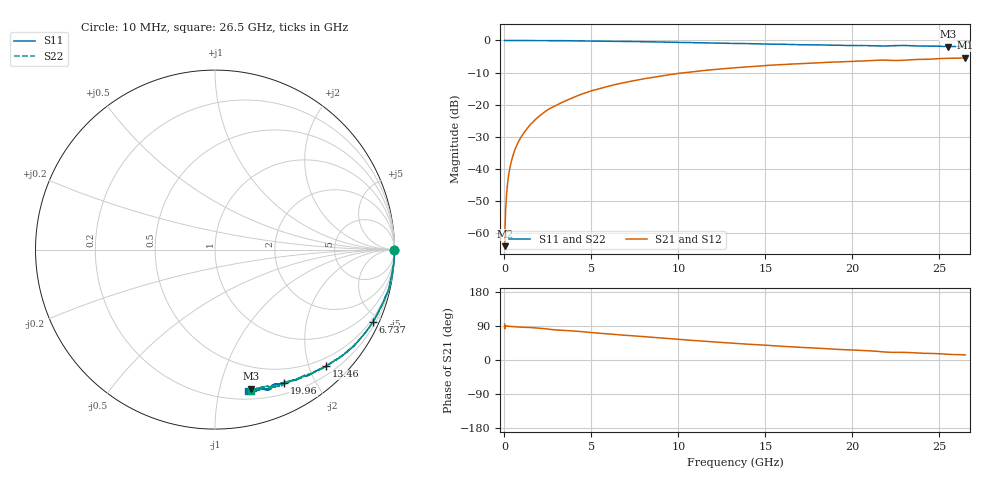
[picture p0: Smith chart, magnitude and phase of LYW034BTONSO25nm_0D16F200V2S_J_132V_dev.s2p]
!Keysight Technologies,N5222B,MY61253708,A.15.00.15
!Date: Wednesday, June 19, 2024 09:57:54
!Correction: S11(C  2-Port  )
!S21(C  2-Port  )
!S12(C  2-Port  )
!S22(C  2-Port  )
!S2P File: Measurements: S11, S21, S12, S22:
# Hz S  RI  R 50
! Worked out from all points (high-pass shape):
!   2651 points, 10 MHz to 26.5 GHz, reference 50 ohm
!   highest |S21| = -5.40 dB at 26.5 GHz (marker M1); lowest = -64.1 dB at 20 MHz (marker M2)
!   |S21| within 3 dB of the highest: 13.53 GHz to end of sweep
!   lowest |S11| = -1.9 dB at 25.5 GHz (marker M3), VSWR 9.00, Z = 14.6 - j62.7 ohm
!   |S11| at or under -10 dB: nowhere
!   |S22| runs from -1.9 to 0.0 dB; largest |S21 - S12| = 0.0063
!   S11 on the Smith chart (normalised r, x): 10 MHz: open; 6.737 GHz: 0.36, -4.55; 13.46 GHz: 0.34, -2.29; 19.96 GHz: 0.33, -1.60; 26.5 GHz: 0.27, -1.22
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1e7  0.9985 -0.00271  -5.14e-05 0.000633  -0.000148 0.000304  0.9985 -0.00137
1.999623e7  1 -0.00331  8.37e-05 0.000619  -8.5e-06 0.000664  1 -0.003
8.996981e7  1 -0.00582  1.24e-05 0.00295  2.29e-06 0.00298  0.9997 -0.00541
1.599434e8  0.9999 -0.0114  5.17e-05 0.00527  6.42e-05 0.00529  0.9997 -0.0105
2.099245e8  0.9997 -0.0141  0.00012 0.00695  0.000118 0.00695  0.9996 -0.0134
2.699019e8  0.9997 -0.0184  0.000184 0.00894  0.000161 0.00893  1 -0.0175
3.698642e8  0.9996 -0.0253  0.00031 0.0122  0.000284 0.0122  0.9995 -0.0243
5.098113e8  0.9991 -0.0341  0.00055 0.0167  0.000564 0.0168  0.9991 -0.0329
8.696755e8  0.998 -0.0578  0.00161 0.0284  0.00157 0.0286  0.9973 -0.0567
1.479445e9  0.9908 -0.0991  0.00385 0.0486  0.00387 0.0488  0.9935 -0.0947
2.349117e9  0.9821 -0.1523  0.01 0.0778  0.0102 0.0783  0.9836 -0.1515
3.218789e9  0.9709 -0.2076  0.0209 0.1036  0.0211 0.1042  0.972 -0.2054
4.428332e9  0.9431 -0.2797  0.0379 0.1406  0.0383 0.1414  0.9454 -0.2754
6.73746e9  0.8793 -0.4035  0.0881 0.1975  0.0892 0.1981  0.8818 -0.4009
8.846664e9  0.8047 -0.5013  0.1435 0.2358  0.1448 0.2363  0.808 -0.4975
1.3255e10  0.6291 -0.642  0.2701 0.2608  0.2722 0.2603  0.6361 -0.6384
1.346492e10  0.6204 -0.6499  0.2765 0.2608  0.2779 0.2594  0.6259 -0.6434
1.767333e10  0.4574 -0.7222  0.3765 0.2339  0.3797 0.2319  0.4717 -0.7183
1.996247e10  0.3838 -0.7417  0.4207 0.2099  0.4233 0.2072  0.4018 -0.7382
2.209166e10  0.3217 -0.7556  0.4596 0.1724  0.4611 0.1691  0.3205 -0.7613
2.550038e10  0.2027 -0.774  0.5093 0.1363  0.5104 0.1352  0.2274 -0.7768
2.65e10  0.183 -0.7876  0.5226 0.1248  0.5219 0.1206  0.2009 -0.7867
